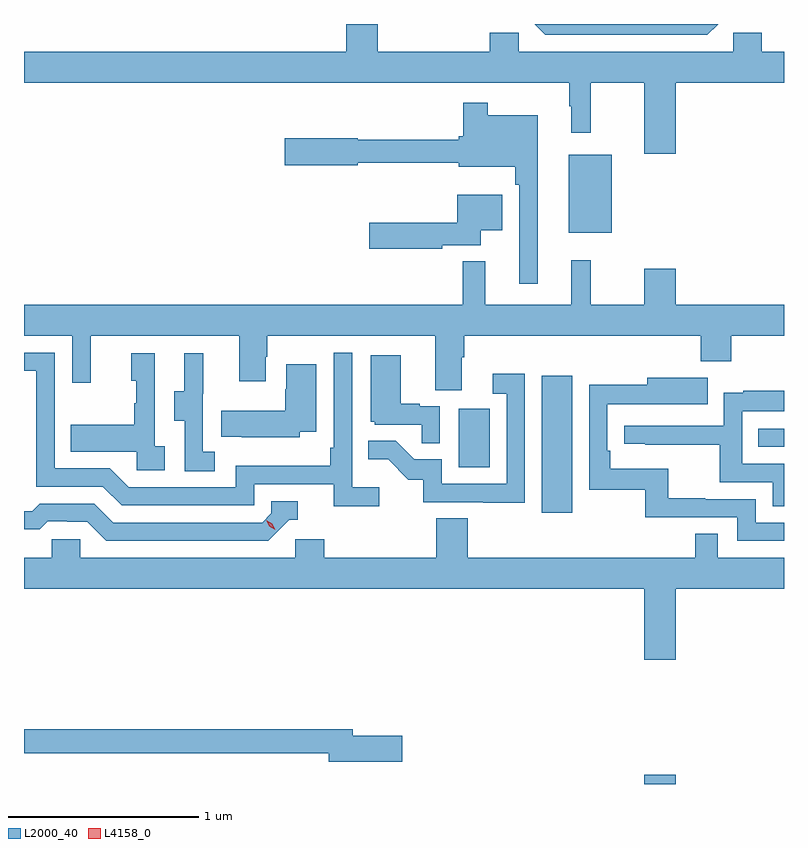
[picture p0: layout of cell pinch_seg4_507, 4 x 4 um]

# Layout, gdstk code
import gdstk
lib = gdstk.Library(unit=1e-6, precision=1e-09)
def R(c, l, rs):  # rectangles x0, y0, x1, y1
    for r in rs: c.add(gdstk.rectangle(r[:2], r[2:], *l))
def P(c, l, *ps):  # polygons
    for p in ps: c.add(gdstk.Polygon(p, *l))
L2000_40 = (2000, 40)
L4158_0 = (4158, 0)

pinch_seg4_507 = lib.new_cell('pinch_seg4_507')
R(pinch_seg4_507, L2000_40, [(992.18,761.161,992.344,761.209), (991.64,762.588,991.801,763.309), (991.202,762.828,991.366,763.135), (992.779,762.936,992.915,763.032), (991.781,764.063,992.008,764.473)])
P(pinch_seg4_507, L2000_40, [(992.344,764.852),(992.915,764.852),(992.915,765.016),(992.799,765.016),(992.799,765.114),(992.649,765.114),(992.649,765.016),(991.518,765.016),(991.518,765.114),(991.367,765.114),(991.367,765.016),(990.776,765.016),(990.776,765.161),(990.611,765.161),(990.611,765.016),(988.915,765.016),(988.915,764.852),(991.785,764.852),(991.785,764.729),(991.796,764.729),(991.796,764.589),(991.898,764.589),(991.898,764.852),(992.18,764.852),(992.18,764.478),(992.344,764.478)],
  [(992.568,765.161),(991.603,765.161),(991.659,765.105),(992.512,765.105)],
  [(991.618,764.68),(991.357,764.68),(991.357,764.746),(991.228,764.746),(991.228,764.569),(991.202,764.569),(991.202,764.551),(990.672,764.551),(990.672,764.559),(990.288,764.559),(990.288,764.417),(990.672,764.417),(990.672,764.43),(991.202,764.43),(991.202,764.411),(991.501,764.411),(991.501,764.315),(991.521,764.315),(991.521,763.794),(991.618,763.794)],
  [(991.116,763.997),(991.318,763.997),(991.318,764.075),(991.432,764.075),(991.432,764.263),(991.196,764.263),(991.196,764.115),(990.732,764.115),(990.732,763.978),(991.116,763.978)],
  [(991.219,763.408),(991.232,763.408),(991.232,763.52),(992.477,763.52),(992.477,763.385),(992.637,763.385),(992.637,763.52),(992.915,763.52),(992.915,763.684),(992.344,763.684),(992.344,763.873),(992.18,763.873),(992.18,763.684),(991.898,763.684),(991.898,763.918),(991.796,763.918),(991.796,763.684),(991.343,763.684),(991.343,763.912),(991.225,763.912),(991.225,763.684),(988.915,763.684),(988.915,763.52),(989.169,763.52),(989.169,763.272),(989.267,763.272),(989.267,763.52),(990.047,763.52),(990.047,763.281),(990.187,763.281),(990.187,763.409),(990.195,763.409),(990.195,763.52),(991.079,763.52),(991.079,763.234),(991.219,763.234)],
  [(990.784,762.724),(990.642,762.724),(990.642,763.432),(990.546,763.432),(990.546,762.931),(990.526,762.931),(990.526,762.835),(990.03,762.835),(990.03,762.723),(989.466,762.723),(989.367,762.822),(989.076,762.822),(989.076,763.431),(988.915,763.431),(988.915,763.335),(988.98,763.335),(988.98,762.726),(989.33,762.726),(989.429,762.627),(990.126,762.627),(990.126,762.738),(990.545,762.738),(990.545,762.622),(990.784,762.622)],
  [(989.92,762.911),(989.856,762.911),(989.856,763.215),(989.858,763.215),(989.858,763.429),(989.759,763.429),(989.759,763.227),(989.705,763.227),(989.705,763.072),(989.76,763.072),(989.76,762.808),(989.92,762.808)],
  [(989.656,762.938),(989.604,762.938),(989.604,763.429),(989.48,763.429),(989.48,763.284),(989.506,763.284),(989.506,763.166),(989.496,763.166),(989.496,763.051),(989.161,763.051),(989.161,762.911),(989.508,762.911),(989.508,762.813),(989.656,762.813)],
  [(991.104,763.149),(990.998,763.149),(990.998,763.162),(990.898,763.162),(990.898,763.417),(990.74,763.417),(990.74,763.068),(990.762,763.068),(990.762,763.053),(991.009,763.053),(991.009,762.955),(991.104,762.955)],
  [(990.367,763.016),(990.454,763.016),(990.454,763.369),(990.296,763.369),(990.296,763.239),(990.289,763.239),(990.289,763.126),(989.953,763.126),(989.953,762.989),(990.061,762.989),(990.061,762.986),(990.367,762.986)],
  [(991.551,763.321),(991.383,763.321),(991.383,763.215),(991.455,763.215),(991.455,762.741),(991.113,762.741),(991.113,762.87),(990.969,762.87),(990.871,762.968),(990.727,762.968),(990.727,762.869),(990.831,762.869),(990.938,762.762),(991.015,762.762),(991.015,762.645),(991.333,762.645),(991.333,762.64),(991.551,762.64)],
  [(992.915,762.537),(992.766,762.537),(992.766,762.66),(992.501,762.66),(992.501,762.665),(992.305,762.665),(992.305,762.82),(992,762.82),(992,762.916),(991.986,762.916),(991.986,763.161),(992.299,763.161),(992.299,763.16),(992.513,763.16),(992.513,763.3),(992.195,763.3),(992.195,763.262),(991.89,763.262),(991.89,762.711),(992.184,762.711),(992.184,762.564),(992.67,762.564),(992.67,762.441),(992.915,762.441)],
  [(992.915,762.846),(992.694,762.846),(992.694,763.122),(992.915,763.122),(992.915,763.231),(992.701,763.231),(992.701,763.219),(992.598,763.219),(992.598,763.047),(992.073,763.047),(992.073,762.951),(992.185,762.951),(992.185,762.946),(992.578,762.946),(992.578,762.75),(992.855,762.75),(992.855,762.622),(992.915,762.622)],
  [(990.312,762.552),(990.355,762.552),(990.355,762.648),(990.216,762.648),(990.216,762.585),(990.168,762.537),(989.385,762.537),(989.286,762.636),(988.997,762.636),(988.958,762.597),(988.915,762.597),(988.915,762.501),(988.997,762.501),(989.039,762.543),(989.142,762.543),(989.142,762.54),(989.249,762.54),(989.348,762.441),(990.201,762.441)],
  [(992.344,762.188),(992.915,762.188),(992.915,762.352),(992.565,762.352),(992.565,762.479),(992.449,762.479),(992.449,762.352),(991.25,762.352),(991.25,762.56),(991.085,762.56),(991.085,762.352),(990.494,762.352),(990.494,762.45),(990.342,762.45),(990.342,762.352),(989.211,762.352),(989.211,762.45),(989.061,762.45),(989.061,762.352),(988.915,762.352),(988.915,762.188),(992.18,762.188),(992.18,761.814),(992.344,761.814)],
  [(990.907,761.414),(990.646,761.414),(990.646,761.45),(988.915,761.45),(988.915,761.322),(990.518,761.322),(990.518,761.279),(990.907,761.279)])
P(pinch_seg4_507, L4158_0, [(990.238,762.498),(990.207,762.517),(990.191,762.55),(990.191,762.55),(990.191,762.55),(990.222,762.531),(990.238,762.498),(990.238,762.498)])

lib.write_gds('pinch_seg4_507.gds')
